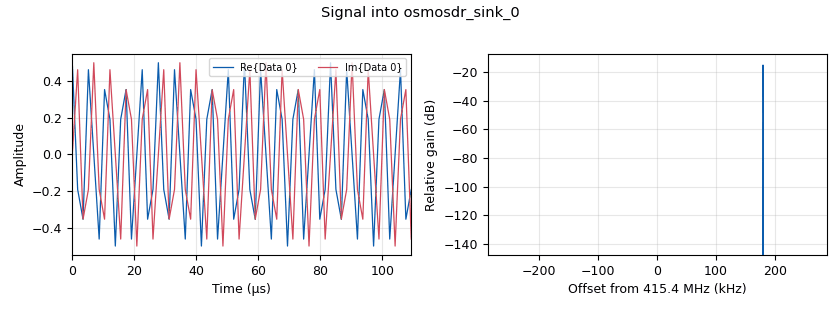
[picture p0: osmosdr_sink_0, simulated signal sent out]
options:
  parameters:
    author: art3m1sf0wl
    generate_options: qt_gui
    id: empty_RX
    output_language: python
    title: Not titled yet
  states: {}

blocks:
- name: samp_rate
  id: variable
  parameters:
    value: '32000'
  states: {}
- name: analog_sig_source_x_0
  id: analog_sig_source_x
  parameters:
    amp: '1'
    freq: '10000'
    offset: '0'
    phase: '0'
    samp_rate: samp_rate
    type: complex
    waveform: analog.GR_COS_WAVE
  states: {}
- name: blocks_multiply_const_vxx_0
  id: blocks_multiply_const_vxx
  parameters:
    const: '0.5'
    type: complex
  states: {}
- name: osmosdr_sink_0
  id: osmosdr_sink
  parameters:
    args: '"bladerf=0,nchan=1,biastee=1"'
    bb_gain0: '20'
    freq0: 415.4e6
    gain0: '40'
    if_gain0: '20'
    sample_rate: '576000'
    sync: sync
    type: fc32
  states: {}
- name: osmosdr_source_1
  id: osmosdr_source
  parameters:
    args: '"bladerf=0,nchan=1,buffers=48,transfers=24,agc_mode=manual,biastee=1"'
    bb_gain0: '20'
    freq0: 415.4e6
    gain0: '40'
    gain_mode0: 'False'
    if_gain0: '20'
    sample_rate: '576000'
    sync: sync
    type: fc32
  states: {}
- name: qtgui_sink_x_0
  id: qtgui_sink_x
  parameters:
    bw: samp_rate
    fc: '0'
    fftsize: '1024'
    type: complex
  states: {}
- name: qtgui_time_sink_x_0_0
  id: qtgui_time_sink_x
  parameters:
    ctrlpanel: 'True'
    size: '1024'
    srate: samp_rate
    tr_mode: qtgui.TRIG_MODE_NORM
    tr_tag: '"packet_len"'
    type: complex
  states: {}
- name: qtgui_waterfall_sink_x_0
  id: qtgui_waterfall_sink_x
  parameters:
    bw: samp_rate
    fc: '0'
    fftsize: '1024'
    type: complex
  states: {}

connections:
- [analog_sig_source_x_0, '0', blocks_multiply_const_vxx_0, '0']
- [blocks_multiply_const_vxx_0, '0', osmosdr_sink_0, '0']
- [osmosdr_source_1, '0', qtgui_sink_x_0, '0']
- [osmosdr_source_1, '0', qtgui_time_sink_x_0_0, '0']
- [osmosdr_source_1, '0', qtgui_waterfall_sink_x_0, '0']

metadata:
  file_format: 1
  grc_version: 3.10.5.1
